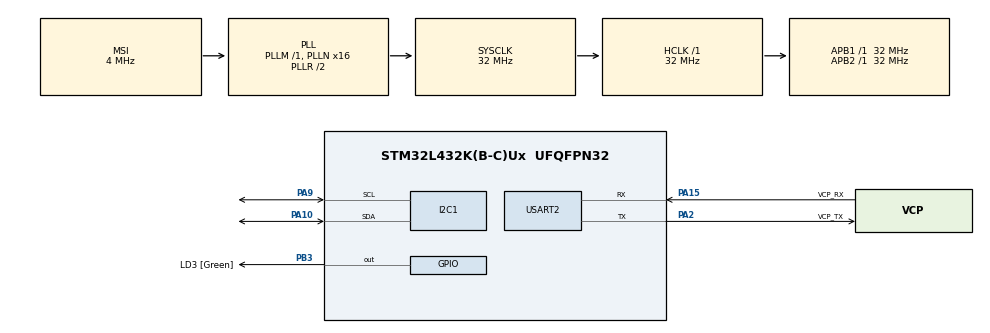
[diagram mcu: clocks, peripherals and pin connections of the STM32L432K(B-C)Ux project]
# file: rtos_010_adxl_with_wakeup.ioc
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FREERTOS.Queues01=printQueue,40,uint16_t,0,Dynamic,NULL,NULL
FREERTOS.Tasks01=defaultTask,24,128,StartDefaultTask,Default,NULL,Dynamic,NULL,NULL
FREERTOS.Timers01=wakeupTimer,WaksupTimer_callback,osTimerPeriodic,Default,NULL,Dynamic,NULL
FREERTOS.configTOTAL_HEAP_SIZE=5120
FREERTOS.configUSE_NEWLIB_REENTRANT=1
I2C1.Timing=0x00707CBB
Mcu.Family=STM32L4
Mcu.Name=STM32L432K(B-C)Ux
Mcu.Package=UFQFPN32
NVIC.PriorityGroup=NVIC_PRIORITYGROUP_4
NVIC.TIM6_DAC_IRQn=true\:15\:0\:false\:false\:true\:false\:false\:true\:true
NVIC.TimeBase=TIM6_DAC_IRQn
NVIC.TimeBaseIP=TIM6
PA10.Mode=I2C
PA10.Signal=I2C1_SDA
PA13\ (JTMS-SWDIO).GPIO_Label=SWDIO
PA13\ (JTMS-SWDIO).Mode=Serial_Wire
PA13\ (JTMS-SWDIO).Signal=SYS_JTMS-SWDIO
PA14\ (JTCK-SWCLK).GPIO_Label=SWCLK
PA14\ (JTCK-SWCLK).Mode=Serial_Wire
PA14\ (JTCK-SWCLK).Signal=SYS_JTCK-SWCLK
PA15\ (JTDI).GPIO_Label=VCP_RX
PA15\ (JTDI).Mode=Asynchronous
PA15\ (JTDI).Signal=USART2_RX
PA2.GPIO_Label=VCP_TX
PA2.Mode=Asynchronous
PA2.Signal=USART2_TX
PA9.Mode=I2C
PA9.Signal=I2C1_SCL
PB3\ (JTDO-TRACESWO).GPIO_Label=LD3 [Green]
PB3\ (JTDO-TRACESWO).Signal=GPIO_Output
ProjectManager.HeapSize=0x200
ProjectManager.StackSize=0x400
ProjectManager.TargetToolchain=STM32CubeIDE
RCC.AHBFreq_Value=32000000
RCC.APB1Freq_Value=32000000
RCC.APB1TimFreq_Value=32000000
RCC.APB2Freq_Value=32000000
RCC.APB2TimFreq_Value=32000000
RCC.CortexFreq_Value=32000000
RCC.HCLKFreq_Value=32000000
RCC.HSE_VALUE=8000000
RCC.HSI16_VALUE=16000000
RCC.HSI48_VALUE=48000000
RCC.HSI_VALUE=16000000
RCC.LSE_VALUE=32768
RCC.MSI_VALUE=4000000
RCC.PLLMUL=RCC_PLLMUL_4
RCC.PLLN=16
RCC.SYSCLKFreq_VALUE=32000000
RCC.SYSCLKSource=RCC_SYSCLKSOURCE_PLLCLK
RCC.VCOOutputFreq_Value=64000000
USART2.VirtualMode-Asynchronous=VM_ASYNC
VP_FREERTOS_VS_CMSIS_V2.Mode=CMSIS_V2
VP_SYS_VS_tim6.Mode=TIM6
board=NUCLEO-L432KC

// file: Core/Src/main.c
/* USER CODE BEGIN Header */
/**
  ******************************************************************************
  * @file           : main.c
  * @brief          : Main program body
  ******************************************************************************
  * @attention
  *
  * Copyright (c) 2025 STMicroelectronics.
  * All rights reserved.
  *
  * This software is licensed under terms that can be found in the LICENSE file
  * in the root directory of this software component.
  * If no LICENSE file comes with this software, it is provided AS-IS.
  *
  ******************************************************************************
  */
/* USER CODE END Header */
#include "main.h"
#include "cmsis_os.h"

/* USER CODE BEGIN Includes */
#include"adxl345_driver.h"
#include"stdbool.h"
#include"string.h"
#include"stdio.h"

#define MAX_SAMLING_NUMBER 10
/* USER CODE END Includes */

/* USER CODE BEGIN PM */
TaskHandle_t record_task_handle;
TaskHandle_t print_task_handle;
/* USER CODE END PM */

I2C_HandleTypeDef hi2c1;

UART_HandleTypeDef huart2;

/* Definitions for defaultTask */
osThreadId_t defaultTaskHandle;
const osThreadAttr_t defaultTask_attributes = {
  .name = "defaultTask",
  .stack_size = 128 * 4,
  .priority = (osPriority_t) osPriorityNormal,
};
/* Definitions for printQueue */
osMessageQueueId_t printQueueHandle;
const osMessageQueueAttr_t printQueue_attributes = {
  .name = "printQueue"
};
/* Definitions for wakeupTimer */
osTimerId_t wakeupTimerHandle;
const osTimerAttr_t wakeupTimer_attributes = {
  .name = "wakeupTimer"
};
/* USER CODE BEGIN PV */
#ifdef __GNUC__
/* With GCC/RAISONANCE, small printf (option LD Linker->Libraries->Small printf
   set to 'Yes') calls __io_putchar() */
#define PUTCHAR_PROTOTYPE int __io_putchar(int ch)
#else
#define PUTCHAR_PROTOTYPE int fputc(int ch, FILE *f)
#endif /* _GNUC_ */

PUTCHAR_PROTOTYPE {
  /* Place your implementation of fputc here */
  /* e.g. write a character to the USART2 and Loop until the end of transmission */
  HAL_UART_Transmit(&huart2, (uint8_t *)&ch, 1, 0xFFFF);
  return ch;
}
/* USER CODE END PV */

void SystemClock_Config(void);
static void MX_GPIO_Init(void);
static void MX_USART2_UART_Init(void);
static void MX_I2C1_Init(void);
void StartDefaultTask(void *argument);
void WaksupTimer_callback(void *argument);

/* USER CODE BEGIN PFP */

void sensor_record_task(void *);
void print_task(void *);
void vApplicationIdleHook (void);
/* USER CODE END PFP */

int main(void)
{
  /* USER CODE BEGIN 1 */
	BaseType_t status;
  /* USER CODE END 1 */

  /* MCU Configuration--------------------------------------------------------*/

  /* Reset of all peripherals, Initializes the Flash interface and the Systick. */
  HAL_Init();

  /* Configure the system clock */
  SystemClock_Config();

  /* Initialize all configured peripherals */
  MX_GPIO_Init();
  MX_USART2_UART_Init();
  MX_I2C1_Init();
  /* USER CODE BEGIN 2 */
  adxl_app_StreamModeInit();
  /* USER CODE END 2 */

  /* Init scheduler */
//  osKernelInitialize();

  /* Create the timer(s) */
  /* creation of wakeupTimer */
  wakeupTimerHandle = osTimerNew(WaksupTimer_callback, osTimerPeriodic, NULL, &wakeupTimer_attributes);

  /* Create the queue(s) */
  /* creation of printQueue */
  printQueueHandle = osMessageQueueNew (40, sizeof(uint16_t), &printQueue_attributes);

  /* Create the thread(s) */
  /* creation of defaultTask */
//  defaultTaskHandle = osThreadNew(StartDefaultTask, NULL  status=xTaskCreate(sensor_record_task,"sensor_task",200,NULL,3,&record_task_handle);

  /* USER CODE BEGIN RTOS_THREADS */
  /* add threads, ... */

  status=xTaskCreate(sensor_record_task,"sensor_task",200,NULL,3,&record_task_handle);
  configASSERT(status==pdPASS);
  status=xTaskCreate(print_task,"button_task",200,NULL,2,&print_task_handle);
  configASSERT(status==pdPASS);
  printf("task creation successful \r\n");

  // start the os timer
  osTimerStart(wakeupTimerHandle,pdMS_TO_TICKS(7000));// wakeup for every 5 sec

  vTaskStartScheduler();
  printf("Scheduler failed \r\n");
  /* USER CODE END RTOS_THREADS */

  /* Start scheduler */
//  osKernelStart();
  /* We should never get here as control is now taken by the scheduler */
  /* Infinite loop */
  while (1)
  {

  }
}

void SystemClock_Config(void)
{
  RCC_OscInitTypeDef RCC_OscInitStruct = {0};
  RCC_ClkInitTypeDef RCC_ClkInitStruct = {0};

  /** Configure the main internal regulator output voltage
  */
  if (HAL_PWREx_ControlVoltageScaling(PWR_REGULATOR_VOLTAGE_SCALE1) != HAL_OK)
  {
    Error_Handler();
  }

  /** Initializes the RCC Oscillators according to the specified parameters
  * in the RCC_OscInitTypeDef structure.
  */
  RCC_OscInitStruct.OscillatorType = RCC_OSCILLATORTYPE_MSI;
  RCC_OscInitStruct.MSIState = RCC_MSI_ON;
  RCC_OscInitStruct.MSICalibrationValue = 0;
  RCC_OscInitStruct.MSIClockRange = RCC_MSIRANGE_6;
  RCC_OscInitStruct.PLL.PLLState = RCC_PLL_ON;
  RCC_OscInitStruct.PLL.PLLSource = RCC_PLLSOURCE_MSI;
  RCC_OscInitStruct.PLL.PLLM = 1;
  RCC_OscInitStruct.PLL.PLLN = 16;
  RCC_OscInitStruct.PLL.PLLP = RCC_PLLP_DIV7;
  RCC_OscInitStruct.PLL.PLLQ = RCC_PLLQ_DIV2;
  RCC_OscInitStruct.PLL.PLLR = RCC_PLLR_DIV2;
  if (HAL_RCC_OscConfig(&RCC_OscInitStruct) != HAL_OK)
  {
    Error_Handler();
  }

  /** Initializes the CPU, AHB and APB buses clocks
  */
  RCC_ClkInitStruct.ClockType = RCC_CLOCKTYPE_HCLK|RCC_CLOCKTYPE_SYSCLK
                              |RCC_CLOCKTYPE_PCLK1|RCC_CLOCKTYPE_PCLK2;
  RCC_ClkInitStruct.SYSCLKSource = RCC_SYSCLKSOURCE_PLLCLK;
  RCC_ClkInitStruct.AHBCLKDivider = RCC_SYSCLK_DIV1;
  RCC_ClkInitStruct.APB1CLKDivider = RCC_HCLK_DIV1;
  RCC_ClkInitStruct.APB2CLKDivider = RCC_HCLK_DIV1;

  if (HAL_RCC_ClockConfig(&RCC_ClkInitStruct, FLASH_LATENCY_1) != HAL_OK)
  {
    Error_Handler();
  }
}

static void MX_I2C1_Init(void)
{

  hi2c1.Instance = I2C1;
  hi2c1.Init.Timing = 0x00707CBB;
  hi2c1.Init.OwnAddress1 = 0;
  hi2c1.Init.AddressingMode = I2C_ADDRESSINGMODE_7BIT;
  hi2c1.Init.DualAddressMode = I2C_DUALADDRESS_DISABLE;
  hi2c1.Init.OwnAddress2 = 0;
  hi2c1.Init.OwnAddress2Masks = I2C_OA2_NOMASK;
  hi2c1.Init.GeneralCallMode = I2C_GENERALCALL_DISABLE;
  hi2c1.Init.NoStretchMode = I2C_NOSTRETCH_DISABLE;
  if (HAL_I2C_Init(&hi2c1) != HAL_OK)
  {
    Error_Handler();
  }

  /** Configure Analogue filter
  */
  if (HAL_I2CEx_ConfigAnalogFilter(&hi2c1, I2C_ANALOGFILTER_ENABLE) != HAL_OK)
  {
    Error_Handler();
  }

  /** Configure Digital filter
  */
  if (HAL_I2CEx_ConfigDigitalFilter(&hi2c1, 0) != HAL_OK)
  {
    Error_Handler();
  }

}

static void MX_USART2_UART_Init(void)
{

  huart2.Instance = USART2;
  huart2.Init.BaudRate = 115200;
  huart2.Init.WordLength = UART_WORDLENGTH_8B;
  huart2.Init.StopBits = UART_STOPBITS_1;
  huart2.Init.Parity = UART_PARITY_NONE;
  huart2.Init.Mode = UART_MODE_TX_RX;
  huart2.Init.HwFlowCtl = UART_HWCONTROL_NONE;
  huart2.Init.OverSampling = UART_OVERSAMPLING_16;
  huart2.Init.OneBitSampling = UART_ONE_BIT_SAMPLE_DISABLE;
  huart2.AdvancedInit.AdvFeatureInit = UART_ADVFEATURE_NO_INIT;
  if (HAL_UART_Init(&huart2) != HAL_OK)
  {
    Error_Handler();
  }

}

static void MX_GPIO_Init(void)
{
  GPIO_InitTypeDef GPIO_InitStruct = {0};

  /* GPIO Ports Clock Enable */
  __HAL_RCC_GPIOA_CLK_ENABLE();
  __HAL_RCC_GPIOB_CLK_ENABLE();

  /*Configure GPIO pin Output Level */
  HAL_GPIO_WritePin(LD3_GPIO_Port, LD3_Pin, GPIO_PIN_RESET);

  /*Configure GPIO pin : LD3_Pin */
  GPIO_InitStruct.Pin = LD3_Pin;
  GPIO_InitStruct.Mode = GPIO_MODE_OUTPUT_PP;
  GPIO_InitStruct.Pull = GPIO_NOPULL;
  GPIO_InitStruct.Speed = GPIO_SPEED_FREQ_LOW;
  HAL_GPIO_Init(LD3_GPIO_Port, &GPIO_InitStruct);

}

/* USER CODE BEGIN 4 */
void sensor_record_task(void * para)
{
	int16_t x_axis=0;
	bool status=1;

	while(1)
	{
		xTaskNotifyWait(0, 0, NULL, portMAX_DELAY);
		printf("Exiting sleep mode \r\n");
		for(int i=0;i<MAX_SAMLING_NUMBER;i++)
		{
			status = adxl_app_GetAccVal(&x_axis,NULL, NULL); // i just want data from x axis
			if(status==0)
			{
				osMessageQueuePut(printQueueHandle, &x_axis, 1, portMAX_DELAY);
			}
		}
//		osMessageQueuePut(printQueueHandle, &txData, 1, portMAX_DELAY);
		printf(" queue count :%lu \r\n",osMessageQueueGetCount(printQueueHandle));
		xTaskNotifyGive(print_task_handle);
	}
}
void print_task(void * para)
{
	int16_t rxData= 0;
	while(1)
	{
		xTaskNotifyWait(0, 0, NULL, portMAX_DELAY);
        	printf("Sampled data : ");
        	for(int i=0;i<MAX_SAMLING_NUMBER;i++)
        	{
				if(osMessageQueueGet(printQueueHandle, &rxData, 0, portMAX_DELAY)==osOK)
				{
					printf(" %d ",rxData);
					rxData=0;
				}
            }

        printf("\r\n");
    	printf("Entering sleep mode \r\n");

     }
}

void vApplicationIdleHook (void){
	__WFI(); // Enter SLEEP mode
}
/* USER CODE END 4 */

void StartDefaultTask(void *argument)
{
  for(;;)
  {
    osDelay(1);
  }
}

/* WaksupTimer_callback function */
void WaksupTimer_callback(void *argument)
{
  /* USER CODE BEGIN WaksupTimer_callback */
   xTaskNotifyGive(record_task_handle);
  /* USER CODE END WaksupTimer_callback */
}

void HAL_TIM_PeriodElapsedCallback(TIM_HandleTypeDef *htim)
{
  if (htim->Instance == TIM6) {
    HAL_IncTick();
  }
}

void Error_Handler(void)
{
  __disable_irq();
  while (1)
  {
  }
}
